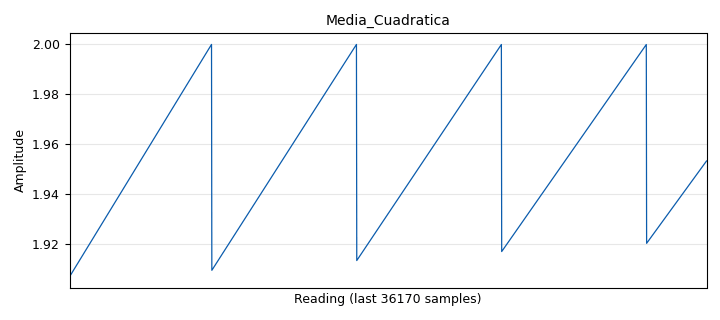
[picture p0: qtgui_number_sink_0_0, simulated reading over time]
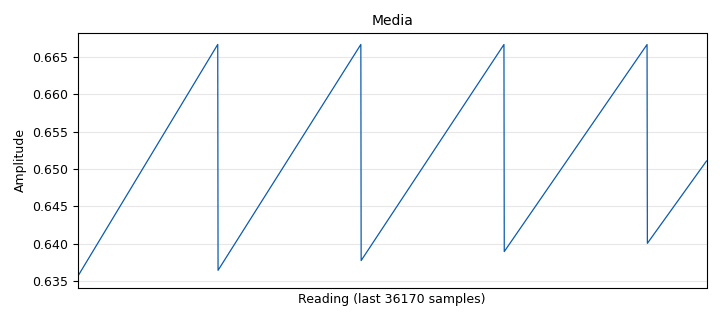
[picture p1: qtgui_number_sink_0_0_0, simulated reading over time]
options:
  parameters:
    author: Edwar Diaz
    generate_options: qt_gui
    id: promedios_tiempo
    output_language: python
    title: Practica 2
  states: {}

blocks:
- name: samp_rate
  id: variable
  parameters:
    value: '32000'
  states: {}
- name: blocks_vector_source_x_0
  id: blocks_vector_source_x
  parameters:
    repeat: 'True'
    type: float
    vector: (1, 2, -1)
  states: {}
- name: epy_block_0
  id: epy_block
  parameters:
    _source_code: |
      import numpy as np
      from gnuradio import gr

      class blk(gr.sync_block):
          def __init__(self):
              gr.sync_block.__init__(
                  self,
                  name='Promedios_de_tiempos',
                  in_sig=[np.float32],
                  out_sig=[np.float32, np.float32, np.float32, np.float32, np.float32]
              )

              self.acum_anterior = 0
              self.Ntotales = 0
              self.acum_anterior1 = 0
              self.acum_anterior2 = 0

          def work(self, input_items, output_items):
              x = input_items[0]

              y0 = output_items[0]  # Media
              y1 = output_items[1]  # Media cuadrática
              y2 = output_items[2]  # RMS
              y3 = output_items[3]  # Potencia promedio
              y4 = output_items[4]  # Desviación estándar

              N = len(x)
              self.Ntotales += N

              # Media
              acumulado = self.acum_anterior + np.cumsum(x)
              self.acum_anterior = acumulado[N-1]
              y0[:] = acumulado / self.Ntotales

              # Media cuadrática
              x2 = x * x
              acumulado1 = self.acum_anterior1 + np.cumsum(x2)
              self.acum_anterior1 = acumulado1[N-1]
              y1[:] = acumulado1 / self.Ntotales

              # RMS
              y2[:] = np.sqrt(y1)

              # Potencia promedio
              y3[:] = y2 * y2

              # Desviación estándar
              x3 = (x - y0) * (x - y0)
              acumulado2 = self.acum_anterior2 + np.cumsum(x3)
              self.acum_anterior2 = acumulado2[N-1]
              y4[:] = np.sqrt(acumulado2 / self.Ntotales)

              return len(x)
  states: {}
- name: qtgui_number_sink_0_0
  id: qtgui_number_sink
  parameters:
    graph_type: qtgui.NUM_GRAPH_HORIZ
    name: '"Media_Cuadratica"'
    type: float
  states: {}
- name: qtgui_number_sink_0_0_0
  id: qtgui_number_sink
  parameters:
    graph_type: qtgui.NUM_GRAPH_HORIZ
    name: '"Media"'
    type: float
  states: {}
- name: qtgui_number_sink_0_1
  id: qtgui_number_sink
  parameters:
    graph_type: qtgui.NUM_GRAPH_HORIZ
    name: '"RMS"'
    type: float
  states: {}
- name: qtgui_number_sink_0_1_0
  id: qtgui_number_sink
  parameters:
    graph_type: qtgui.NUM_GRAPH_HORIZ
    name: '"Potencia Promedio"'
    type: float
  states: {}
- name: qtgui_number_sink_0_1_0_0
  id: qtgui_number_sink
  parameters:
    graph_type: qtgui.NUM_GRAPH_HORIZ
    name: '"Desviacion Estandar"'
    type: float
  states: {}

connections:
- [blocks_vector_source_x_0, '0', epy_block_0, '0']
- [epy_block_0, '0', qtgui_number_sink_0_0_0, '0']
- [epy_block_0, '1', qtgui_number_sink_0_0, '0']
- [epy_block_0, '2', qtgui_number_sink_0_1, '0']
- [epy_block_0, '3', qtgui_number_sink_0_1_0, '0']
- [epy_block_0, '4', qtgui_number_sink_0_1_0_0, '0']

metadata:
  file_format: 1
  grc_version: 3.10.12.0
